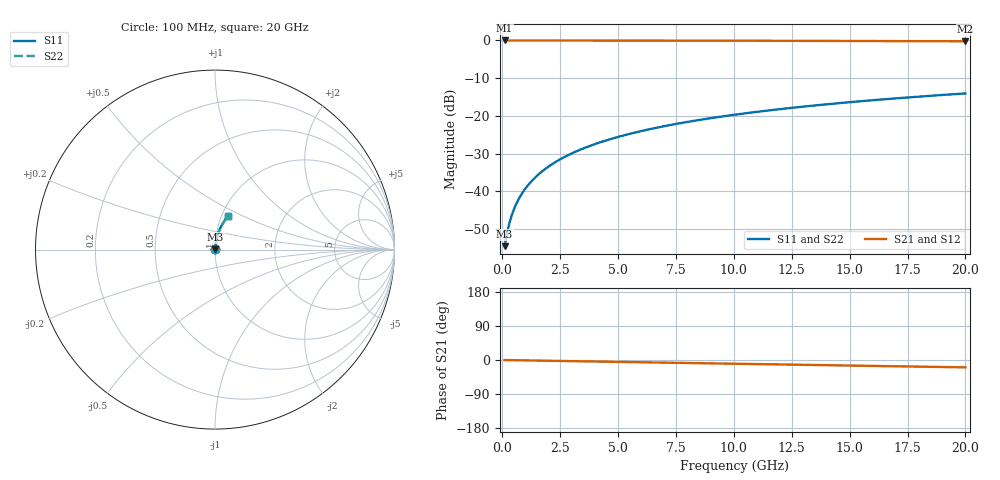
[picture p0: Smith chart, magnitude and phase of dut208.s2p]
! Touchstone file exported from HFSS 2026.1.0
!  File:  C:/ffzhzh/LocalFiles/Ansys_Project_Files/temp_train_TMRDL_208_1782984103_41620.aedt
!  Generated:  05:22:55 PM Jul  2, 2026
!  Design:  TMRDL
!  Project:  temp_train_TMRDL_208_1782984103_41620
! Variables:
!  h_bsmrdl = 2um
!  h_ox = 20um
!  h_rdl = 5um
!  h_sub = 80um
!  h_tmrdl = 3.36um
!  h_tsv = 80um
!  h_via = 3um
!  l_bsmrdl = 300um
!  l_sub = 645.54um
!  l_tmrdl = 245.54um
!  m_sub = 200um
!  pitch = 45.58um
!  r_tsv = 6um
!  s_tmrdl = 10um
!  w_bsmrdl = 18um
!  w_sub = 500um
!  w_tmrdl = 20.4um
!  x_tsv_center1 = 255.74um
!  x_tsv_center2 = 573.74um
!  x_tsv_center3 = 839.68um
!  x_tsv_center4 = 1157.68um
!  x_tsv_center5 = 1423.62um
!  x_tsv_center6 = 1741.62um
# GHz S MA R 50.000000
! Terminal data exported
! Port[1] = TM_RDL1_1_T1
! Port[2] = TM_RDL1_1_T2
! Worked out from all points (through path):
!   200 points, 100 MHz to 20 GHz, reference 50 ohm
!   highest |S21| = -0.01 dB at 100 MHz (marker M1); lowest = -0.2 dB at 20 GHz (marker M2)
!   group delay of S21, straight-line fit = 2.7 ps
!   lowest |S11| = -54.5 dB at 100 MHz (marker M3), VSWR 1.00, Z = 50.1 + j0.116 ohm
!   |S11| at or under -10 dB: start of sweep to end of sweep
!   |S22| runs from -54.5 to -14.0 dB; largest |S21 - S12| = 3e-15
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0.1  0.001884 37.7  0.9985 -0.1  0.9985 -0.1  0.001884 37.7
! Gamma 0 0 0 0
! Port Impedance 50 0 50 0
0.2  0.002757 55.8  0.9985 -0.2  0.9985 -0.2  0.002757 55.8
0.3  0.003746 64.3  0.9984 -0.3  0.9984 -0.3  0.003746 64.3
0.4  0.00476 69.1  0.9983 -0.4  0.9983 -0.4  0.00476 69.1
0.5  0.00578 72.2  0.9983 -0.5  0.9983 -0.5  0.00578 72.2
0.6  0.006803 74.4  0.9982 -0.6  0.9982 -0.6  0.006803 74.4
0.8  0.00886 77.4  0.9982 -0.8  0.9982 -0.8  0.00886 77.4
1.1  0.01197 79.9  0.9981 -1.1  0.9981 -1.1  0.01197 79.9
1.3  0.01405 80.9  0.998 -1.3  0.998 -1.3  0.01405 80.9
1.6  0.01719 81.9  0.9979 -1.6  0.9979 -1.6  0.01719 81.9
2.1  0.02244 82.7  0.9977 -2.1  0.9977 -2.1  0.02244 82.7
2.7  0.02874 83.0  0.9975 -2.7  0.9975 -2.7  0.02874 83.0
3.5  0.03711 82.9  0.997 -3.5  0.997 -3.5  0.03711 82.9
4.2  0.04441 82.6  0.9966 -4.2  0.9966 -4.2  0.04441 82.6
5  0.05271 82.1  0.996 -5.0  0.996 -5.0  0.05271 82.1
5.9  0.06198 81.4  0.9952 -5.9  0.9952 -5.9  0.06198 81.4
6.8  0.07119 80.7  0.9943 -6.8  0.9943 -6.8  0.07119 80.7
8.3  0.08638 79.4  0.9927 -8.2  0.9927 -8.2  0.08638 79.4
10.1  0.1044 77.8  0.9905 -10.0  0.9905 -10.0  0.1044 77.8
13.4  0.1367 74.8  0.9859 -13.2  0.9859 -13.2  0.1367 74.8
16.7  0.1681 71.9  0.9804 -16.3  0.9804 -16.3  0.1681 71.9
20  0.1985 68.9  0.9743 -19.4  0.9743 -19.4  0.1985 68.9
